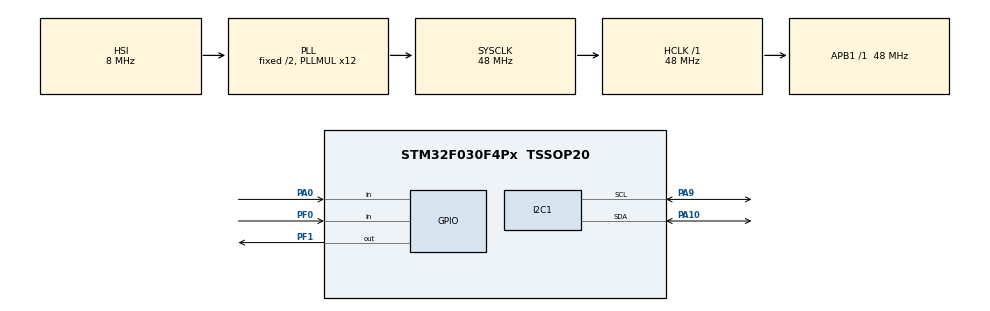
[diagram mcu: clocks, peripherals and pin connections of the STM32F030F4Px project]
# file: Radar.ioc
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Mcu.Family=STM32F0
Mcu.Name=STM32F030F4Px
Mcu.Package=TSSOP20
PA0.GPIO_PuPd=GPIO_PULLDOWN
PA0.Signal=GPIO_Input
PA10.Mode=I2C
PA10.Signal=I2C1_SDA
PA13.Mode=Serial_Wire
PA13.Signal=SYS_SWDIO
PA14.Mode=Serial_Wire
PA14.Signal=SYS_SWCLK
PA9.Mode=I2C
PA9.Signal=I2C1_SCL
PF0-OSC_IN.GPIO_PuPd=GPIO_PULLDOWN
PF0-OSC_IN.Signal=GPIO_Input
PF1-OSC_OUT.GPIO_Speed=GPIO_SPEED_FREQ_HIGH
PF1-OSC_OUT.Signal=GPIO_Output
ProjectManager.HeapSize=0x200
ProjectManager.StackSize=0x400
ProjectManager.TargetToolchain=TrueSTUDIO
RCC.AHBFreq_Value=48000000
RCC.APB1Freq_Value=48000000
RCC.APB1TimFreq_Value=48000000
RCC.HCLKFreq_Value=48000000
RCC.PLLMUL=RCC_PLL_MUL12
RCC.SYSCLKFreq_VALUE=48000000
RCC.SYSCLKSource=RCC_SYSCLKSOURCE_PLLCLK
TIM16.Period=65534
TIM16.Prescaler=47
TIM17.Period=65534
TIM17.Prescaler=47999
VP_TIM16_VS_ClockSourceINT.Mode=Enable_Timer
VP_TIM17_VS_ClockSourceINT.Mode=Enable_Timer
board=custom

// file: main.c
/**
  ******************************************************************************
  * @file           : main.c
  * @brief          : Main program body
  ******************************************************************************
  ** This notice applies to any and all portions of this file
  * that are not between comment pairs USER CODE BEGIN and
  * USER CODE END. Other portions of this file, whether
  * inserted by the user or by software development tools
  * are owned by their respective copyright owners.
  *
  * COPYRIGHT(c) 2018 STMicroelectronics
  *
  * Redistribution and use in source and binary forms, with or without modification,
  * are permitted provided that the following conditions are met:
  *   1. Redistributions of source code must retain the above copyright notice,
  *      this list of conditions and the following disclaimer.
  *   2. Redistributions in binary form must reproduce the above copyright notice,
  *      this list of conditions and the following disclaimer in the documentation
  *      and/or other materials provided with the distribution.
  *   3. Neither the name of STMicroelectronics nor the names of its contributors
  *      may be used to endorse or promote products derived from this software
  *      without specific prior written permission.
  *
  * THIS SOFTWARE IS PROVIDED BY THE COPYRIGHT HOLDERS AND CONTRIBUTORS "AS IS"
  * AND ANY EXPRESS OR IMPLIED WARRANTIES, INCLUDING, BUT NOT LIMITED TO, THE
  * IMPLIED WARRANTIES OF MERCHANTABILITY AND FITNESS FOR A PARTICULAR PURPOSE ARE
  * DISCLAIMED. IN NO EVENT SHALL THE COPYRIGHT HOLDER OR CONTRIBUTORS BE LIABLE
  * FOR ANY DIRECT, INDIRECT, INCIDENTAL, SPECIAL, EXEMPLARY, OR CONSEQUENTIAL
  * DAMAGES (INCLUDING, BUT NOT LIMITED TO, PROCUREMENT OF SUBSTITUTE GOODS OR
  * SERVICES; LOSS OF USE, DATA, OR PROFITS; OR BUSINESS INTERRUPTION) HOWEVER
  * CAUSED AND ON ANY THEORY OF LIABILITY, WHETHER IN CONTRACT, STRICT LIABILITY,
  * OR TORT (INCLUDING NEGLIGENCE OR OTHERWISE) ARISING IN ANY WAY OUT OF THE USE
  * OF THIS SOFTWARE, EVEN IF ADVISED OF THE POSSIBILITY OF SUCH DAMAGE.
  *
  ******************************************************************************
  */
#include "main.h"
#include "stm32f0xx_hal.h"

/* USER CODE BEGIN Includes */
#include "LCD.h"
/* USER CODE END Includes */

I2C_HandleTypeDef hi2c1;

TIM_HandleTypeDef htim16;
TIM_HandleTypeDef htim17;

/* USER CODE BEGIN PV */
/* Private variables ---------------------------------------------------------*/
#define SR04_TRIG   GPIO_PIN_1
#define SR04_ECHO   GPIO_PIN_0
#define SR04_OFFSET 0.8
/* USER CODE END PV */

void SystemClock_Config(void);
static void MX_GPIO_Init(void);
static void MX_TIM16_Init(void);
static void MX_TIM17_Init(void);
static void MX_I2C1_Init(void);

/* USER CODE BEGIN PFP */
/* Private function prototypes -----------------------------------------------*/
float distance(void);
uint32_t pulseTime(void);
int GetSpeed(void);
/* USER CODE END PFP */

int main(void)
{

  /* MCU Configuration----------------------------------------------------------*/

  /* Reset of all peripherals, Initializes the Flash interface and the Systick. */
  HAL_Init();

  /* Configure the system clock */
  SystemClock_Config();

  /* Initialize all configured peripherals */
  MX_GPIO_Init();
  MX_TIM16_Init();
  MX_TIM17_Init();
  MX_I2C1_Init();
  /* USER CODE BEGIN 2 */
  char msg[16];
  HAL_TIM_Base_Start(&htim16);
  HAL_TIM_Base_Start(&htim17);
  lcd_init(hi2c1);
  int speed;

  /* USER CODE END 2 */

  /* Infinite loop */
  while (1)
  {

  /* USER CODE BEGIN 3 */
	  if(HAL_GPIO_ReadPin(GPIOA, GPIO_PIN_0)==1){
		   while(HAL_GPIO_ReadPin(GPIOA, GPIO_PIN_0)==1){
			   lcd_send_cmd(0x01, hi2c1);
			   HAL_Delay(10);
			   lcd_send_cmd(0x80, hi2c1);
			   lcd_send_string("Velocidade c/ms", hi2c1);
			   lcd_send_cmd(0xc0, hi2c1);
			   speed = GetSpeed();
			   sprintf(msg,"%d", speed);
			   lcd_send_string(msg,hi2c1);

			   HAL_Delay(500);
		   }
	  }
		   else{
			   lcd_send_cmd(0x01, hi2c1);
			   HAL_Delay(10);
		   }
  }
  /* USER CODE END 3 */

}

void SystemClock_Config(void)
{

  RCC_OscInitTypeDef RCC_OscInitStruct;
  RCC_ClkInitTypeDef RCC_ClkInitStruct;
  RCC_PeriphCLKInitTypeDef PeriphClkInit;

    /**Initializes the CPU, AHB and APB busses clocks
    */
  RCC_OscInitStruct.OscillatorType = RCC_OSCILLATORTYPE_HSI;
  RCC_OscInitStruct.HSIState = RCC_HSI_ON;
  RCC_OscInitStruct.HSICalibrationValue = 16;
  RCC_OscInitStruct.PLL.PLLState = RCC_PLL_ON;
  RCC_OscInitStruct.PLL.PLLSource = RCC_PLLSOURCE_HSI;
  RCC_OscInitStruct.PLL.PLLMUL = RCC_PLL_MUL12;
  RCC_OscInitStruct.PLL.PREDIV = RCC_PREDIV_DIV1;
  if (HAL_RCC_OscConfig(&RCC_OscInitStruct) != HAL_OK)
  {
    _Error_Handler(__FILE__, __LINE__);
  }

    /**Initializes the CPU, AHB and APB busses clocks
    */
  RCC_ClkInitStruct.ClockType = RCC_CLOCKTYPE_HCLK|RCC_CLOCKTYPE_SYSCLK
                              |RCC_CLOCKTYPE_PCLK1;
  RCC_ClkInitStruct.SYSCLKSource = RCC_SYSCLKSOURCE_PLLCLK;
  RCC_ClkInitStruct.AHBCLKDivider = RCC_SYSCLK_DIV1;
  RCC_ClkInitStruct.APB1CLKDivider = RCC_HCLK_DIV1;

  if (HAL_RCC_ClockConfig(&RCC_ClkInitStruct, FLASH_LATENCY_1) != HAL_OK)
  {
    _Error_Handler(__FILE__, __LINE__);
  }

  PeriphClkInit.PeriphClockSelection = RCC_PERIPHCLK_I2C1;
  PeriphClkInit.I2c1ClockSelection = RCC_I2C1CLKSOURCE_HSI;
  if (HAL_RCCEx_PeriphCLKConfig(&PeriphClkInit) != HAL_OK)
  {
    _Error_Handler(__FILE__, __LINE__);
  }

    /**Configure the Systick interrupt time
    */
  HAL_SYSTICK_Config(HAL_RCC_GetHCLKFreq()/1000);

    /**Configure the Systick
    */
  HAL_SYSTICK_CLKSourceConfig(SYSTICK_CLKSOURCE_HCLK);

  /* SysTick_IRQn interrupt configuration */
  HAL_NVIC_SetPriority(SysTick_IRQn, 0, 0);
}

/* I2C1 init function */
static void MX_I2C1_Init(void)
{

  hi2c1.Instance = I2C1;
  hi2c1.Init.Timing = 0x2000090E;
  hi2c1.Init.OwnAddress1 = 0;
  hi2c1.Init.AddressingMode = I2C_ADDRESSINGMODE_7BIT;
  hi2c1.Init.DualAddressMode = I2C_DUALADDRESS_DISABLE;
  hi2c1.Init.OwnAddress2 = 0;
  hi2c1.Init.OwnAddress2Masks = I2C_OA2_NOMASK;
  hi2c1.Init.GeneralCallMode = I2C_GENERALCALL_DISABLE;
  hi2c1.Init.NoStretchMode = I2C_NOSTRETCH_DISABLE;
  if (HAL_I2C_Init(&hi2c1) != HAL_OK)
  {
    _Error_Handler(__FILE__, __LINE__);
  }

    /**Configure Analogue filter
    */
  if (HAL_I2CEx_ConfigAnalogFilter(&hi2c1, I2C_ANALOGFILTER_ENABLE) != HAL_OK)
  {
    _Error_Handler(__FILE__, __LINE__);
  }

    /**Configure Digital filter
    */
  if (HAL_I2CEx_ConfigDigitalFilter(&hi2c1, 0) != HAL_OK)
  {
    _Error_Handler(__FILE__, __LINE__);
  }

}

/* TIM16 init function */
static void MX_TIM16_Init(void)
{

  htim16.Instance = TIM16;
  htim16.Init.Prescaler = 47;
  htim16.Init.CounterMode = TIM_COUNTERMODE_UP;
  htim16.Init.Period = 65534;
  htim16.Init.ClockDivision = TIM_CLOCKDIVISION_DIV1;
  htim16.Init.RepetitionCounter = 0;
  htim16.Init.AutoReloadPreload = TIM_AUTORELOAD_PRELOAD_DISABLE;
  if (HAL_TIM_Base_Init(&htim16) != HAL_OK)
  {
    _Error_Handler(__FILE__, __LINE__);
  }

}

/* TIM17 init function */
static void MX_TIM17_Init(void)
{

  htim17.Instance = TIM17;
  htim17.Init.Prescaler = 47999;
  htim17.Init.CounterMode = TIM_COUNTERMODE_UP;
  htim17.Init.Period = 65534;
  htim17.Init.ClockDivision = TIM_CLOCKDIVISION_DIV1;
  htim17.Init.RepetitionCounter = 0;
  htim17.Init.AutoReloadPreload = TIM_AUTORELOAD_PRELOAD_DISABLE;
  if (HAL_TIM_Base_Init(&htim17) != HAL_OK)
  {
    _Error_Handler(__FILE__, __LINE__);
  }

}

/** Configure pins as
        * Analog
        * Input
        * Output
        * EVENT_OUT
        * EXTI
*/
static void MX_GPIO_Init(void)
{

  GPIO_InitTypeDef GPIO_InitStruct;

  /* GPIO Ports Clock Enable */
  __HAL_RCC_GPIOF_CLK_ENABLE();
  __HAL_RCC_GPIOA_CLK_ENABLE();

  /*Configure GPIO pin Output Level */
  HAL_GPIO_WritePin(GPIOF, GPIO_PIN_1, GPIO_PIN_RESET);

  /*Configure GPIO pin : PF0 */
  GPIO_InitStruct.Pin = GPIO_PIN_0;
  GPIO_InitStruct.Mode = GPIO_MODE_INPUT;
  GPIO_InitStruct.Pull = GPIO_PULLDOWN;
  HAL_GPIO_Init(GPIOF, &GPIO_InitStruct);

  /*Configure GPIO pin : PF1 */
  GPIO_InitStruct.Pin = GPIO_PIN_1;
  GPIO_InitStruct.Mode = GPIO_MODE_OUTPUT_PP;
  GPIO_InitStruct.Pull = GPIO_NOPULL;
  GPIO_InitStruct.Speed = GPIO_SPEED_FREQ_HIGH;
  HAL_GPIO_Init(GPIOF, &GPIO_InitStruct);

  /*Configure GPIO pin : PA0 */
  GPIO_InitStruct.Pin = GPIO_PIN_0;
  GPIO_InitStruct.Mode = GPIO_MODE_INPUT;
  GPIO_InitStruct.Pull = GPIO_PULLDOWN;
  HAL_GPIO_Init(GPIOA, &GPIO_InitStruct);

}

/* USER CODE BEGIN 4 */

uint32_t pulseTime(){

	  uint32_t us;

	  HAL_GPIO_WritePin(GPIOF,SR04_TRIG,GPIO_PIN_RESET);
	  __HAL_TIM_SET_COUNTER(&htim16,0);
	  while(__HAL_TIM_GET_COUNTER(&htim16)<2);
	  HAL_GPIO_WritePin(GPIOF,SR04_TRIG,GPIO_PIN_SET);
	  __HAL_TIM_SET_COUNTER(&htim16,0);
	  while(__HAL_TIM_GET_COUNTER(&htim16)<20);
	  HAL_GPIO_WritePin(GPIOF,SR04_TRIG,GPIO_PIN_RESET);
	  while(HAL_GPIO_ReadPin(GPIOF,SR04_ECHO)==0);
	  __HAL_TIM_SET_COUNTER(&htim16,0);
	  while(HAL_GPIO_ReadPin(GPIOF,SR04_ECHO)==1);
	  us = __HAL_TIM_GET_COUNTER(&htim16);
	  if((us<2) || (us>50000)){
		  return 0;
	  }
	  else return  us;
	}

int GetSpeed(void){

	int d1,d2,t2,t1;

		__HAL_TIM_SET_COUNTER(&htim17,0);
		d1 = pulseTime()/5.70;
		t1 = __HAL_TIM_GET_COUNTER(&htim17);
		HAL_Delay(50);
		d2 = pulseTime()/5.70;
		t2 = __HAL_TIM_GET_COUNTER(&htim17);
		return ((d2-d1)/(t2-t1));
}
/* USER CODE END 4 */

/**e
  * @brief  This function is executed in case of error occurrence.
  * @param  file: The file name as string.
  * @param  line: The line in file as a number.
  * @retval None
  */
void _Error_Handler(char *file, int line)
{
  while(1)
  {
  }
}

/************************ (C) COPYRIGHT STMicroelectronics *****END OF FILE****/
